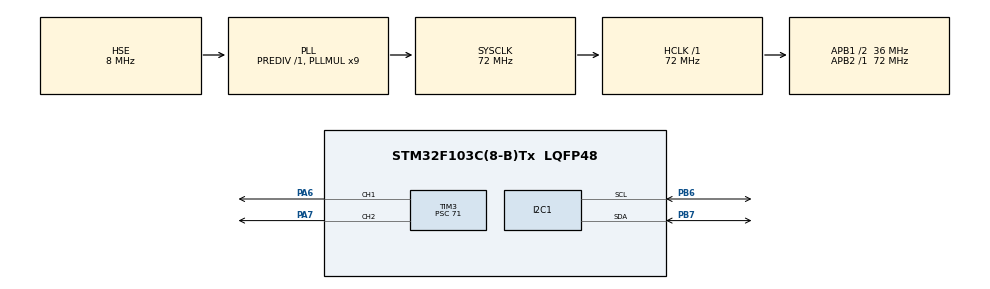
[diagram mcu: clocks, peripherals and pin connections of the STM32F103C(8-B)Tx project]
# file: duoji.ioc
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I2C1.I2C_Mode=I2C_Fast
Mcu.Family=STM32F1
Mcu.Name=STM32F103C(8-B)Tx
Mcu.Package=LQFP48
NVIC.PriorityGroup=NVIC_PRIORITYGROUP_4
PA13.Mode=Serial_Wire
PA13.Signal=SYS_JTMS-SWDIO
PA14.Mode=Serial_Wire
PA14.Signal=SYS_JTCK-SWCLK
PA6.Signal=S_TIM3_CH1
PA7.Signal=S_TIM3_CH2
PB6.Mode=I2C
PB6.Signal=I2C1_SCL
PB7.Mode=I2C
PB7.Signal=I2C1_SDA
PD0-OSC_IN.Mode=HSE-External-Oscillator
PD0-OSC_IN.Signal=RCC_OSC_IN
PD1-OSC_OUT.Mode=HSE-External-Oscillator
PD1-OSC_OUT.Signal=RCC_OSC_OUT
ProjectManager.HeapSize=0x200
ProjectManager.StackSize=0x400
ProjectManager.TargetToolchain=CMake
RCC.AHBFreq_Value=72000000
RCC.APB1CLKDivider=RCC_HCLK_DIV2
RCC.APB1Freq_Value=36000000
RCC.APB1TimFreq_Value=72000000
RCC.APB2Freq_Value=72000000
RCC.APB2TimFreq_Value=72000000
RCC.HCLKFreq_Value=72000000
RCC.PLLMUL=RCC_PLL_MUL9
RCC.PLLSourceVirtual=RCC_PLLSOURCE_HSE
RCC.SYSCLKFreq_VALUE=72000000
RCC.SYSCLKSource=RCC_SYSCLKSOURCE_PLLCLK
RCC.USBFreq_Value=72000000
SH.S_TIM3_CH1.0=TIM3_CH1,PWM Generation1 CH1
SH.S_TIM3_CH2.0=TIM3_CH2,PWM Generation2 CH2
TIM3.AutoReloadPreload=TIM_AUTORELOAD_PRELOAD_ENABLE
TIM3.Channel-PWM\ Generation1\ CH1=TIM_CHANNEL_1
TIM3.Channel-PWM\ Generation2\ CH2=TIM_CHANNEL_2
TIM3.Period=19999
TIM3.Prescaler=71
VP_TIM3_VS_ClockSourceINT.Mode=Internal
board=custom

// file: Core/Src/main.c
/* USER CODE BEGIN Header */
/**
  ******************************************************************************
  * @file           : main.c
  * @brief          : 二轴云台 (STM32F103C8T6 + MPU6050 DMP + 双舵机)
  ******************************************************************************
  * @attention
  *
  * Copyright (c) 2026 STMicroelectronics.
  * All rights reserved.
  *
  * This software is licensed under terms that can be found in the LICENSE file
  * in the root directory of this software component.
  * If no LICENSE file comes with this software, it is provided AS-IS.
  *
  ******************************************************************************
  */
/* USER CODE END Header */
/*
 * 硬件连接 (详细接线见工程根目录 README.md):
 *   MPU6050  VCC -> 3.3V   GND -> GND
 *            SCL -> PB6 (I2C1_SCL)
 *            SDA -> PB7 (I2C1_SDA)
 *            AD0 -> GND  (器件地址 0x68)    INT 悬空即可
 *   俯仰舵机 信号 -> PA6 (TIM3_CH1)
 *   航向舵机 信号 -> PA7 (TIM3_CH2)
 *   舵机电源单独 5V 供电, 必须和开发板共地!
 */

#include "main.h"

/* USER CODE BEGIN Includes */
#include "mpu6050.h"   /* MPU6050 寄存器读写 (已改成 HAL 硬件 I2C 版本) */
#include "inv_mpu.h"   /* mpu_dmp_init() / mpu_dmp_get_data() 姿态解算 */
#include "pid.h"       /* 二轴云台的 PID 控制器 */
#include "uart_stm32.h"/* BSP: 调试串口 USART1 (PA9/PA10) */
#include "frame.h"     /* 通信帧打包 */
#include <string.h>

/* 教程笔记里写的是 MPU_DMP_INIT / TU6050_GetData,
 * 驱动库实际导出的函数名是 mpu_dmp_init / mpu_dmp_get_data,
 * 这里做个别名, 两种写法都能编译通过。 */
#define MPU_DMP_INIT()              mpu_dmp_init()
#define MPU6050_GetData(p, r, y)    mpu_dmp_get_data((p), (r), (y))
/* USER CODE END Includes */

/* USER CODE BEGIN PD */
/* 舵机脉宽: 定时器 1us 计一个数, 周期 20000 个数 = 20ms = 50Hz
 * 500us -> 0 度, 1500us -> 90 度(中位), 2500us -> 180 度 */
#define SERVO_MIN_US        500U
#define SERVO_MID_US        1500U
#define SERVO_MAX_US        2500U

/* 控制周期: 10ms = 100Hz, 和 DMP 输出速率(DEFAULT_MPU_HZ=100)一致 */
#define CONTROL_PERIOD_MS   10U
#define CONTROL_DT          0.01f

/* PID 输出限幅(单位 us): 限制每次最多摆动多少, 防止堵转、过冲。
 * 400us 大约对应 36 度, 想更"猛"可以加大, 想更"稳"可以减小 */
#define PID_OUT_LIMIT       400.0f

/* 安装方向修正: 云台往一边"跑飞"或越补越歪时,
 * 把对应轴的 +1 改成 -1 (只改符号, 不用动别的) */
#define PITCH_SERVO_SIGN    (+1)
#define YAW_SERVO_SIGN      (-1)

/* 希望云台保持的姿态: 水平 */
#define TARGET_PITCH        0.0f
#define TARGET_YAW          0.0f
/* USER CODE END PD */

I2C_HandleTypeDef hi2c1;

TIM_HandleTypeDef htim3;

/* USER CODE BEGIN PV */
/* MPU6050 DMP 解算出来的三个姿态角, 单位: 度
 * (调试时把这三个变量加到 Watch 窗口就能看到实时姿态) */
float pitch = 0.0f;   /* 俯仰角: -90 ~ +90   */
float roll  = 0.0f;   /* 横滚角: -180 ~ +180 */
float yaw   = 0.0f;   /* 航向角: -180 ~ +180 */

/* 两轴 PID 控制器 */
PID_t pid_pitch;
PID_t pid_yaw;

/* 当前输出的脉宽, 调试用 */
uint16_t servo_pitch_us = SERVO_MID_US;
uint16_t servo_yaw_us   = SERVO_MID_US;

static uint32_t last_tick = 0;   /* 上一次控制的时间戳 */

/* 调试用: MPU6050 初始化结果, 加到 Ozone 的 Watch 窗口里能直接看出来
 *   mpu_ready    : 1 = 初始化成功, 0 = 失败(这时舵机保持中位不动)
 *   mpu_init_ret : mpu_dmp_init() 最后一次返回值, 0=成功, 其他=卡在哪一步 */
uint8_t mpu_ready = 0;
uint8_t mpu_init_ret = 0;
/* USER CODE END PV */

void SystemClock_Config(void);
static void MX_GPIO_Init(void);
static void MX_TIM3_Init(void);
static void MX_I2C1_Init(void);
/* USER CODE BEGIN PFP */
static void Gimbal_Init(void);
static void Gimbal_Update(void);
static void Servo_SetPulse(uint32_t channel, int16_t pulse_us);
/* USER CODE END PFP */

/* USER CODE BEGIN 0 */

/**
  * @brief  设置某一路舵机的脉宽, 自动限幅到 500~2500us
  * @param  channel  : TIM_CHANNEL_1(俯仰) / TIM_CHANNEL_2(航向)
  * @param  pulse_us : 期望脉宽, 单位 us
  */
static void Servo_SetPulse(uint32_t channel, int16_t pulse_us)
{
    if (pulse_us < (int16_t)SERVO_MIN_US) pulse_us = (int16_t)SERVO_MIN_US;
    if (pulse_us > (int16_t)SERVO_MAX_US) pulse_us = (int16_t)SERVO_MAX_US;

    __HAL_TIM_SET_COMPARE(&htim3, channel, (uint16_t)pulse_us);

    if (channel == TIM_CHANNEL_1)
        servo_pitch_us = (uint16_t)pulse_us;
    else
        servo_yaw_us = (uint16_t)pulse_us;
}

/**
  * @brief  云台初始化: 舵机回中 -> MPU6050 DMP 初始化 -> PID 参数
  * @note   在 main() 的 USER CODE BEGIN 2 里调用, 即 while(1) 之前
  */
static void Gimbal_Init(void)
{
    uint8_t ret;
    uint8_t retry = 0;

    /* 1. 先把两路 PWM 写中位再启动, 上电时舵机不会突然抖一下 */
    __HAL_TIM_SET_COMPARE(&htim3, TIM_CHANNEL_1, SERVO_MID_US);
    __HAL_TIM_SET_COMPARE(&htim3, TIM_CHANNEL_2, SERVO_MID_US);
    HAL_TIM_PWM_Start(&htim3, TIM_CHANNEL_1);
    HAL_TIM_PWM_Start(&htim3, TIM_CHANNEL_2);
    servo_pitch_us = SERVO_MID_US;
    servo_yaw_us   = SERVO_MID_US;

    /* 2. MPU6050 + DMP 初始化, 失败重试 10 次(约 2 秒)
     *    返回值: 0=成功, 1~10=不同阶段的错误码(见 inv_mpu.c 注释) */
    do
    {
        ret = MPU_DMP_INIT();
        if (ret == 0) break;
        HAL_Delay(200);
    } while (++retry < 10);

    mpu_init_ret = ret;
    mpu_ready = (ret == 0);

    /* 初始化没成功: 舵机停在中位不动, 主循环只空转, 不会乱摆 */
    if (!mpu_ready) return;

    /* 3. PID 参数: 先只调 Kp(云台抖就减小, 回中慢就适当加 Ki) */
    PID_Init(&pid_pitch, 8.0f, 0.3f, 0.0f, -PID_OUT_LIMIT, PID_OUT_LIMIT);
    PID_Init(&pid_yaw,   8.0f, 0.3f, 0.0f, -PID_OUT_LIMIT, PID_OUT_LIMIT);
    PID_SetTarget(&pid_pitch, TARGET_PITCH);
    PID_SetTarget(&pid_yaw,   TARGET_YAW);
}

/**
  * @brief  把当前姿态打包成帧, 通过 USART1 发给上位机
  * @note   角度单位 0.01 度, 一帧 14 字节
  */
static void Telemetry_Send(void)
{
    static uint16_t seq = 0;
    uint8_t payload[8];
    uint8_t buf[FRAME_MAX_SIZE];
    uint16_t n;
    int16_t p = (int16_t)(pitch * 100.0f);
    int16_t r = (int16_t)(roll  * 100.0f);
    int16_t y = (int16_t)(yaw   * 100.0f);

    memcpy(&payload[0], &p, 2);
    memcpy(&payload[2], &r, 2);
    memcpy(&payload[4], &y, 2);
    memcpy(&payload[6], &seq, 2);
    seq++;

    n = frame_pack(CMD_ATTITUDE, payload, 8, buf, sizeof(buf));
    if (n > 0) {
        bsp_uart1_send(buf, n, 5);
    }
}

/**
  * @brief  云台控制: 读姿态 -> PID 计算 -> 输出 PWM, 每 10ms 调用一次
  */
static void Gimbal_Update(void)
{
    float pitch_out, yaw_out;

    if (!mpu_ready) return;

    /* 读取 DMP 解算好的姿态角(单位: 度), 返回 0 表示读到有效数据 */
    if (MPU6050_GetData(&pitch, &roll, &yaw) != 0) return;

    /* 目标角度 - 当前角度 = 偏差, PID 算出需要补偿的脉宽 */
    pitch_out = PID_Compute(&pid_pitch, pitch, CONTROL_DT);
    yaw_out   = PID_Compute(&pid_yaw,   yaw,   CONTROL_DT);

    /* 云台增稳: 传感器测到往哪边歪, 舵机就往反方向补多少 */
    Servo_SetPulse(TIM_CHANNEL_1,
                   (int16_t)(SERVO_MID_US + PITCH_SERVO_SIGN * pitch_out));
    Servo_SetPulse(TIM_CHANNEL_2,
                   (int16_t)(SERVO_MID_US + YAW_SERVO_SIGN * yaw_out));

    /* 每 10 个控制周期(100ms) 发一帧姿态给上位机 */
    {
        static uint8_t div = 0;
        if (++div >= 10) {
            div = 0;
            Telemetry_Send();
        }
    }
}

/* USER CODE END 0 */

int main(void)
{

  /* MCU Configuration--------------------------------------------------------*/

  /* Reset of all peripherals, Initializes the Flash interface and the Systick. */
  HAL_Init();

  /* Configure the system clock */
  SystemClock_Config();

  /* Initialize all configured peripherals */
  MX_GPIO_Init();
  MX_TIM3_Init();
  MX_I2C1_Init();
  /* USER CODE BEGIN 2 */
  bsp_uart1_init(115200);        /* 调试串口: PA9=TX, PA10=RX */
  Gimbal_Init();                 /* 舵机 + MPU6050 DMP 初始化 */
  last_tick = HAL_GetTick();     /* 控制周期计时起点 */
  /* USER CODE END 2 */

  /* Infinite loop */
  /* USER CODE BEGIN WHILE */
  while (1)
  {
    /* 每 10ms 执行一次姿态读取 + PID + 舵机输出 */
    if ((HAL_GetTick() - last_tick) >= CONTROL_PERIOD_MS)
    {
      last_tick = HAL_GetTick();
      Gimbal_Update();
    }
    /* USER CODE END WHILE */

  }
}

void SystemClock_Config(void)
{
  RCC_OscInitTypeDef RCC_OscInitStruct = {0};
  RCC_ClkInitTypeDef RCC_ClkInitStruct = {0};

  /** Initializes the RCC Oscillators according to the specified parameters
  * in the RCC_OscInitTypeDef structure.
  */
  RCC_OscInitStruct.OscillatorType = RCC_OSCILLATORTYPE_HSE;
  RCC_OscInitStruct.HSEState = RCC_HSE_ON;
  RCC_OscInitStruct.HSEPredivValue = RCC_HSE_PREDIV_DIV1;
  RCC_OscInitStruct.HSIState = RCC_HSI_ON;
  RCC_OscInitStruct.PLL.PLLState = RCC_PLL_ON;
  RCC_OscInitStruct.PLL.PLLSource = RCC_PLLSOURCE_HSE;
  RCC_OscInitStruct.PLL.PLLMUL = RCC_PLL_MUL9;
  if (HAL_RCC_OscConfig(&RCC_OscInitStruct) != HAL_OK)
  {
    Error_Handler();
  }

  /** Initializes the CPU, AHB and APB buses clocks
  */
  RCC_ClkInitStruct.ClockType = RCC_CLOCKTYPE_HCLK|RCC_CLOCKTYPE_SYSCLK
                              |RCC_CLOCKTYPE_PCLK1|RCC_CLOCKTYPE_PCLK2;
  RCC_ClkInitStruct.SYSCLKSource = RCC_SYSCLKSOURCE_PLLCLK;
  RCC_ClkInitStruct.AHBCLKDivider = RCC_SYSCLK_DIV1;
  RCC_ClkInitStruct.APB1CLKDivider = RCC_HCLK_DIV2;
  RCC_ClkInitStruct.APB2CLKDivider = RCC_HCLK_DIV1;

  if (HAL_RCC_ClockConfig(&RCC_ClkInitStruct, FLASH_LATENCY_2) != HAL_OK)
  {
    Error_Handler();
  }
}

static void MX_GPIO_Init(void)
{

  /* GPIO Ports Clock Enable */
  __HAL_RCC_GPIOD_CLK_ENABLE();
  __HAL_RCC_GPIOA_CLK_ENABLE();
  __HAL_RCC_GPIOB_CLK_ENABLE();

}

static void MX_TIM3_Init(void)
{

  TIM_ClockConfigTypeDef sClockSourceConfig = {0};
  TIM_MasterConfigTypeDef sMasterConfig = {0};
  TIM_OC_InitTypeDef sConfigOC = {0};

  htim3.Instance = TIM3;
  htim3.Init.Prescaler = 71;                 /* 72MHz / 72 = 1MHz, 1us 计一个数 */
  htim3.Init.CounterMode = TIM_COUNTERMODE_UP;
  htim3.Init.Period = 19999;                 /* 20000us = 20ms -> 50Hz 舵机周期 */
  htim3.Init.ClockDivision = TIM_CLOCKDIVISION_DIV1;
  htim3.Init.AutoReloadPreload = TIM_AUTORELOAD_PRELOAD_ENABLE;
  if (HAL_TIM_Base_Init(&htim3) != HAL_OK)
  {
    Error_Handler();
  }
  sClockSourceConfig.ClockSource = TIM_CLOCKSOURCE_INTERNAL;
  if (HAL_TIM_ConfigClockSource(&htim3, &sClockSourceConfig) != HAL_OK)
  {
    Error_Handler();
  }
  if (HAL_TIM_PWM_Init(&htim3) != HAL_OK)
  {
    Error_Handler();
  }
  sMasterConfig.MasterOutputTrigger = TIM_TRGO_RESET;
  sMasterConfig.MasterSlaveMode = TIM_MASTERSLAVEMODE_DISABLE;
  if (HAL_TIMEx_MasterConfigSynchronization(&htim3, &sMasterConfig) != HAL_OK)
  {
    Error_Handler();
  }
  sConfigOC.OCMode = TIM_OCMODE_PWM1;
  sConfigOC.Pulse = 0;
  sConfigOC.OCPolarity = TIM_OCPOLARITY_HIGH;
  sConfigOC.OCFastMode = TIM_OCFAST_DISABLE;
  if (HAL_TIM_PWM_ConfigChannel(&htim3, &sConfigOC, TIM_CHANNEL_1) != HAL_OK)
  {
    Error_Handler();
  }
  if (HAL_TIM_PWM_ConfigChannel(&htim3, &sConfigOC, TIM_CHANNEL_2) != HAL_OK)
  {
    Error_Handler();
  }
  HAL_TIM_MspPostInit(&htim3);

}

static void MX_I2C1_Init(void)
{

  hi2c1.Instance = I2C1;
  hi2c1.Init.ClockSpeed = 400000;            /* 400kHz, MPU6050 支持 */
  hi2c1.Init.DutyCycle = I2C_DUTYCYCLE_2;
  hi2c1.Init.OwnAddress1 = 0;
  hi2c1.Init.AddressingMode = I2C_ADDRESSINGMODE_7BIT;
  hi2c1.Init.DualAddressMode = I2C_DUALADDRESS_DISABLE;
  hi2c1.Init.OwnAddress2 = 0;
  hi2c1.Init.GeneralCallMode = I2C_GENERALCALL_DISABLE;
  hi2c1.Init.NoStretchMode = I2C_NOSTRETCH_DISABLE;
  if (HAL_I2C_Init(&hi2c1) != HAL_OK)
  {
    Error_Handler();
  }

}

void Error_Handler(void)
{
  __disable_irq();
  while (1)
  {
  }
}
